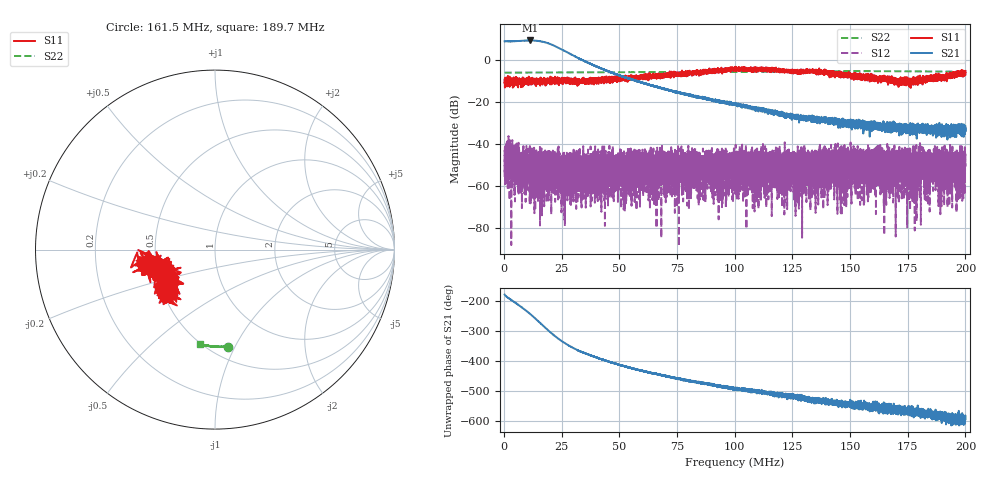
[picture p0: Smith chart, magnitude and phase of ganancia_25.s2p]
# Hz S DB R 50
! CMT, M5065, 19127446, 24.2.4/2
! Date: 10/29/2024 12:23:59 PM
! Data: Format (Calibration Info)
! Freq	S11:dB/Ang(F2)	S21:dB/Ang(F2)	S12:dB/Ang(F2)	S22:dB/Ang(F2)
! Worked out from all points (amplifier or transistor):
!   9000 points, 300 kHz to 200 MHz, reference 50 ohm
!   highest |S21| = 9.4 dB at 11.28 MHz (marker M1)
!   |S21| within 3 dB of that: start of sweep to 22.69 MHz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
!   unconditionally stable (mu >= 1): start of sweep to end of sweep
!   at 33.59 MHz: K = 198.37, MAG = 2.0 dB, |S12| = -55.8 dB
!   at 100.2 MHz: K = 512.14, MAG = -18.1 dB, |S12| = -45.4 dB
!   at 200 MHz: K = 2754.86, MAG = -28.6 dB, |S12| = -49.3 dB
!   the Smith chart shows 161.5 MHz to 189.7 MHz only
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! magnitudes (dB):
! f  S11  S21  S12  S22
! 300 kHz  -9.3  9.0  -55.6  -6.0
! 1.654 MHz  -12.5  9.0  -44.5  -6.0
! 4.05 MHz  -11.5  9.0  -49.6  -5.9
! 11.28 MHz  -9.9  9.4  -61.1  -5.9
! 15.57 MHz  -9.6  9.0  -57.8  -5.9
! 17.5 MHz  -10.1  8.6  -51.4  -5.9
! 25.55 MHz  -10.1  4.8  -44.8  -5.9
! 33.59 MHz  -9.7  0.3  -55.8  -5.9
! 46.9 MHz  -9.3  -6.1  -51.5  -5.8
! 50.43 MHz  -7.7  -7.4  -49.0  -5.8
! 52.45 MHz  -8.5  -8.2  -50.8  -5.8
! 54.14 MHz  -8.7  -8.8  -60.1  -5.7
! 66.87 MHz  -7.1  -13.0  -45.8  -5.7
! 100.2 MHz  -4.5  -21.4  -45.4  -5.6
! 133.4 MHz  -5.5  -27.4  -46.2  -5.3
! 166.7 MHz  -8.2  -32.7  -52.7  -5.3
! 179.8 MHz  -9.4  -33.8  -42.2  -5.4
! 181.3 MHz  -8.4  -34.1  -53.2  -5.4
! 183.4 MHz  -9.8  -34.1  -55.0  -5.4
! 187.3 MHz  -7.8  -32.2  -46.1  -5.4
! 196.6 MHz  -6.6  -33.0  -48.8  -5.5
! 200 MHz  -5.1  -31.6  -49.3  -5.5
